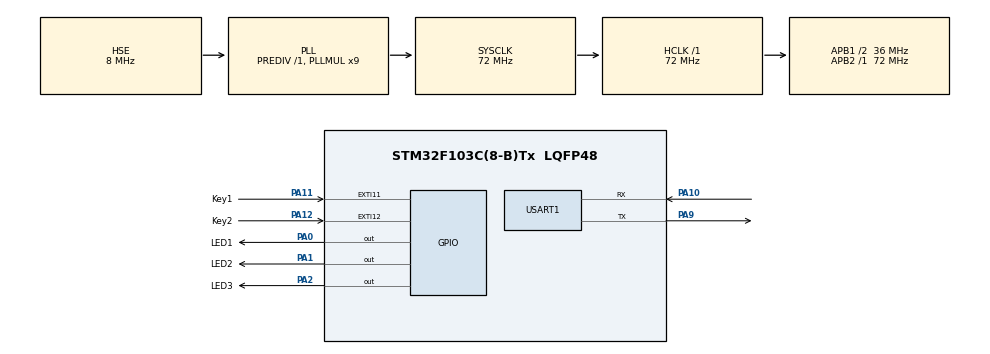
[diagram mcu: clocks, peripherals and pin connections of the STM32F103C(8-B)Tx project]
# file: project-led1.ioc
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Mcu.Family=STM32F1
Mcu.Name=STM32F103C(8-B)Tx
Mcu.Package=LQFP48
NVIC.EXTI15_10_IRQn=true\:0\:0\:false\:false\:true\:true\:true\:true
NVIC.PriorityGroup=NVIC_PRIORITYGROUP_4
NVIC.USART1_IRQn=true\:0\:0\:false\:false\:true\:true\:true\:true
PA0-WKUP.GPIO_Label=LED1
PA0-WKUP.Signal=GPIO_Output
PA1.GPIO_Label=LED2
PA1.Signal=GPIO_Output
PA10.Mode=Asynchronous
PA10.Signal=USART1_RX
PA11.GPIO_Label=Key1
PA11.GPIO_ModeDefaultEXTI=GPIO_MODE_IT_FALLING
PA11.GPIO_PuPd=GPIO_PULLUP
PA11.Signal=GPXTI11
PA12.GPIO_Label=Key2
PA12.GPIO_ModeDefaultEXTI=GPIO_MODE_IT_FALLING
PA12.GPIO_PuPd=GPIO_PULLUP
PA12.Signal=GPXTI12
PA13.Mode=Serial_Wire
PA13.Signal=SYS_JTMS-SWDIO
PA14.Mode=Serial_Wire
PA14.Signal=SYS_JTCK-SWCLK
PA2.GPIO_Label=LED3
PA2.Signal=GPIO_Output
PA9.Mode=Asynchronous
PA9.Signal=USART1_TX
PD0-OSC_IN.Mode=HSE-External-Oscillator
PD0-OSC_IN.Signal=RCC_OSC_IN
PD1-OSC_OUT.Mode=HSE-External-Oscillator
PD1-OSC_OUT.Signal=RCC_OSC_OUT
ProjectManager.HeapSize=0x200
ProjectManager.StackSize=0x400
ProjectManager.TargetToolchain=STM32CubeIDE
RCC.AHBFreq_Value=72000000
RCC.APB1CLKDivider=RCC_HCLK_DIV2
RCC.APB1Freq_Value=36000000
RCC.APB1TimFreq_Value=72000000
RCC.APB2Freq_Value=72000000
RCC.APB2TimFreq_Value=72000000
RCC.HCLKFreq_Value=72000000
RCC.PLLMUL=RCC_PLL_MUL9
RCC.PLLSourceVirtual=RCC_PLLSOURCE_HSE
RCC.SYSCLKFreq_VALUE=72000000
RCC.SYSCLKSource=RCC_SYSCLKSOURCE_PLLCLK
RCC.USBFreq_Value=72000000
USART1.VirtualMode=VM_ASYNC
board=custom

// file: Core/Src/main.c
/* USER CODE BEGIN Header */
/**
  ******************************************************************************
  * @file           : main.c
  * @brief          : Main program body
  ******************************************************************************
  * @attention
  *
  * Copyright (c) 2026 STMicroelectronics.
  * All rights reserved.
  *
  * This software is licensed under terms that can be found in the LICENSE file
  * in the root directory of this software component.
  * If no LICENSE file comes with this software, it is provided AS-IS.
  *
  ******************************************************************************
  */
/* USER CODE END Header */
#include "main.h"
#include "usart.h"
#include "gpio.h"

/* USER CODE BEGIN PV */
#include "OLED.h"
#include <stdio.h>
#include <string.h>

// 1. 定义数据包结构体 (严格按 6 字节解析)
typedef struct __attribute__((packed)) {
  uint8_t header;       // 0xAA
  uint8_t run;          // 00暂停 / 01运行
  uint8_t dir;          // 00正向 / 01反向
  uint16_t interval_ms; // 间隔时间 (低字节 STEP_L 在前，高字节 STEP_H 在后)
  uint8_t checksum;     // 校验和
} RxPacket;

RxPacket rx_packet;             // 接收缓冲对象
volatile uint8_t rx_ready = 0;  // 接收完成标志

// 2. 系统运行状态 (中断与主循环共享，必须加 volatile)
volatile uint8_t system_run = 1;     // 默认 1 运行
volatile uint8_t system_dir = 0;     // 默认 0 正向
volatile uint16_t system_step = 300; // 默认 300ms
volatile uint8_t current_led = 0;    // 当前LED编号 (0,1,2 对应LED1,2,3)
volatile uint8_t update_flag = 1;    // 状态更新标志位 (触发OLED刷新和串口发送)

// 3. 按键消抖时间戳
volatile uint32_t key1_tick = 0;
volatile uint32_t key2_tick = 0;

// 4. 串口发送缓冲区 (必须全局，因为中断发送是异步的)
char tx_buf[64];
/* USER CODE END PV */

void SystemClock_Config(void);

int main(void)
{

  /* MCU Configuration--------------------------------------------------------*/

  /* Reset of all peripherals, Initializes the Flash interface and the Systick. */
  HAL_Init();

  /* Configure the system clock */
  SystemClock_Config();

  /* Initialize all configured peripherals */
  MX_GPIO_Init();
  MX_USART1_UART_Init();
  /* USER CODE BEGIN 2 */
  OLED_Init(); // 初始化 OLED 屏幕

  // 开启串口中断接收，期待接收 sizeof(rx_packet) 即 6 个字节
  HAL_UART_Receive_IT(&huart1, (uint8_t *)&rx_packet, sizeof(rx_packet));

  // 启动时先给电脑发一次初始状态反馈
  int len = snprintf(tx_buf, sizeof(tx_buf), "System Ready! STATE=RUN,DIR=FWD,STEP=300,LED=1\r\n");
  HAL_UART_Transmit_IT(&huart1, (uint8_t*)tx_buf, len);
  /* USER CODE END 2 */

  /* Infinite loop */
  /* USER CODE BEGIN WHILE */
  uint32_t last_led_tick = 0;

  while (1)
  {
    /* USER CODE END WHILE */

    /* USER CODE BEGIN 3 */

    // ----- 任务1：处理串口接收到的数据包 -----
    if (rx_ready) {
      rx_ready = 0;

      // 计算校验和 (强转uint8_t自动截断保留低8位)
      uint8_t expected = (uint8_t)(rx_packet.header + rx_packet.run + rx_packet.dir
                        + (rx_packet.interval_ms & 0xFF) + (rx_packet.interval_ms >> 8));

      // 校验帧头、校验和、参数范围
      if (rx_packet.header == 0xAA && rx_packet.checksum == expected
          && rx_packet.run <= 1 && rx_packet.dir <= 1
          && rx_packet.interval_ms >= 100 && rx_packet.interval_ms <= 2000) {

        // 更新全局状态
        system_run = rx_packet.run;
        system_dir = rx_packet.dir;
        system_step = rx_packet.interval_ms;
        update_flag = 1; // 触发屏幕刷新和串口反馈
          }

      // 处理完毕，重新开启接收，等待下一包
      HAL_UART_Receive_IT(&huart1, (uint8_t *)&rx_packet, sizeof(rx_packet));
    }

    // ----- 任务2：非阻塞流水灯控制 -----
    if (system_run && (HAL_GetTick() - last_led_tick >= system_step)) {
      last_led_tick = HAL_GetTick(); // 记录本次切灯时间

      // 先关掉所有LED
      HAL_GPIO_WritePin(GPIOA, GPIO_PIN_0 | GPIO_PIN_1 | GPIO_PIN_2, GPIO_PIN_SET);

      // 计算下一个LED编号
      if (system_dir == 0) { // 正向
        current_led = (current_led + 1) % 3;
      } else { // 反向
        current_led = (current_led == 0) ? 2 : (current_led - 1);
      }

      // 点亮当前LED
      if (current_led == 0) HAL_GPIO_WritePin(GPIOA, GPIO_PIN_0, GPIO_PIN_RESET);
      if (current_led == 1) HAL_GPIO_WritePin(GPIOA, GPIO_PIN_1, GPIO_PIN_RESET);
      if (current_led == 2) HAL_GPIO_WritePin(GPIOA, GPIO_PIN_2, GPIO_PIN_RESET);

      update_flag = 1; // 切灯了，OLED的编号需要更新
    }

    // ----- 任务3：OLED显示与串口状态反馈 -----
    if (update_flag) {
      update_flag = 0;

      // 1. 刷新 OLED
      char line[17];
      snprintf(line, sizeof(line), "STATE: %s", system_run ? "RUN " : "STOP");
      OLED_ShowString(1, 1, line);

      snprintf(line, sizeof(line), "DIR: %s", system_dir ? "REV " : "FWD ");
      OLED_ShowString(2, 1, line);

      snprintf(line, sizeof(line), "STEP: %dms   ", system_step);
      OLED_ShowString(3, 1, line);

      snprintf(line, sizeof(line), "LED: %d      ", current_led + 1);
      OLED_ShowString(4, 1, line);

      // 2. 发送串口反馈 (中断发送)
      int len = snprintf(tx_buf, sizeof(tx_buf),
         "STATE=%s,DIR=%s,STEP=%d,LED=%d\r\n",
          system_run ? "RUN" : "STOP",
          system_dir ? "REV" : "FWD",
          system_step, current_led + 1);
      HAL_UART_Transmit_IT(&huart1, (uint8_t*)tx_buf, len);
      //只有收到按键或串口指令时，才发送一次反馈

    }
  }

  /* USER CODE END 3 */
}

void SystemClock_Config(void)
{
  RCC_OscInitTypeDef RCC_OscInitStruct = {0};
  RCC_ClkInitTypeDef RCC_ClkInitStruct = {0};

  /** Initializes the RCC Oscillators according to the specified parameters
  * in the RCC_OscInitTypeDef structure.
  */
  RCC_OscInitStruct.OscillatorType = RCC_OSCILLATORTYPE_HSE;
  RCC_OscInitStruct.HSEState = RCC_HSE_ON;
  RCC_OscInitStruct.HSEPredivValue = RCC_HSE_PREDIV_DIV1;
  RCC_OscInitStruct.HSIState = RCC_HSI_ON;
  RCC_OscInitStruct.PLL.PLLState = RCC_PLL_ON;
  RCC_OscInitStruct.PLL.PLLSource = RCC_PLLSOURCE_HSE;
  RCC_OscInitStruct.PLL.PLLMUL = RCC_PLL_MUL9;
  if (HAL_RCC_OscConfig(&RCC_OscInitStruct) != HAL_OK)
  {
    Error_Handler();
  }

  /** Initializes the CPU, AHB and APB buses clocks
  */
  RCC_ClkInitStruct.ClockType = RCC_CLOCKTYPE_HCLK|RCC_CLOCKTYPE_SYSCLK
                              |RCC_CLOCKTYPE_PCLK1|RCC_CLOCKTYPE_PCLK2;
  RCC_ClkInitStruct.SYSCLKSource = RCC_SYSCLKSOURCE_PLLCLK;
  RCC_ClkInitStruct.AHBCLKDivider = RCC_SYSCLK_DIV1;
  RCC_ClkInitStruct.APB1CLKDivider = RCC_HCLK_DIV2;
  RCC_ClkInitStruct.APB2CLKDivider = RCC_HCLK_DIV1;

  if (HAL_RCC_ClockConfig(&RCC_ClkInitStruct, FLASH_LATENCY_2) != HAL_OK)
  {
    Error_Handler();
  }
}

/* USER CODE BEGIN 4 */
// 【按键外部中断回调】
void HAL_GPIO_EXTI_Callback(uint16_t GPIO_Pin) {
  uint32_t now = HAL_GetTick(); // 获取当前系统毫秒数

  if (GPIO_Pin == GPIO_PIN_11) {
    // 按键1：切换方向 (软件消抖：两次触发间隔需大于200ms)
    if (now - key1_tick > 200) {
      key1_tick = now;
      system_dir = !system_dir; // 翻转方向 (0变1，1变0)
      update_flag = 1;          // 通知主循环：状态变了，快刷新屏幕和发串口
    }
  }
  if (GPIO_Pin == GPIO_PIN_12) {
    // 按键2：切换暂停/运行
    if (now - key2_tick > 200) {
      key2_tick = now;
      system_run = !system_run;
      update_flag = 1;
    }
  }
}

// 【串口接收完成中断回调】
void HAL_UART_RxCpltCallback(UART_HandleTypeDef *huart) {
  if (huart->Instance == USART1) {
    rx_ready = 1; // 绝不能在中断里做复杂的解析，只置位标志，交给主循环
  }
}
/* USER CODE END 4 */

void Error_Handler(void)
{
  __disable_irq();
  while (1)
  {
  }
}
